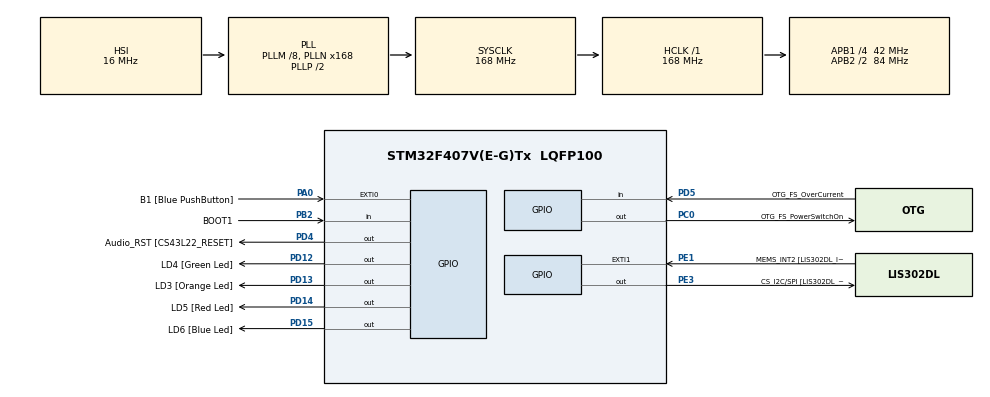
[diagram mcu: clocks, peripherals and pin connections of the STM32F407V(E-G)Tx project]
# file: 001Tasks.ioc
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Mcu.Family=STM32F4
Mcu.Name=STM32F407V(E-G)Tx
Mcu.Package=LQFP100
NVIC.PriorityGroup=NVIC_PRIORITYGROUP_4
NVIC.TIM6_DAC_IRQn=true\:0\:0\:false\:false\:true\:false\:true
NVIC.TimeBase=TIM6_DAC_IRQn
NVIC.TimeBaseIP=TIM6
PA0-WKUP.GPIO_Label=B1 [Blue PushButton]
PA0-WKUP.Signal=GPXTI0
PA10.GPIO_Label=OTG_FS_ID
PA10.GPIO_Mode=GPIO_MODE_AF_PP
PA10.GPIO_PuPd=GPIO_NOPULL
PA10.GPIO_Speed=GPIO_SPEED_FREQ_LOW
PA10.Signal=USB_OTG_FS_ID
PA11.GPIO_Label=OTG_FS_DM
PA11.GPIO_Mode=GPIO_MODE_AF_PP
PA11.GPIO_PuPd=GPIO_NOPULL
PA11.GPIO_Speed=GPIO_SPEED_FREQ_LOW
PA11.Signal=USB_OTG_FS_DM
PA12.GPIO_Label=OTG_FS_DP
PA12.GPIO_Mode=GPIO_MODE_AF_PP
PA12.GPIO_PuPd=GPIO_NOPULL
PA12.GPIO_Speed=GPIO_SPEED_FREQ_LOW
PA12.Signal=USB_OTG_FS_DP
PA13.GPIO_Label=SWDIO
PA13.Signal=SYS_JTMS-SWDIO
PA14.GPIO_Label=SWCLK
PA14.Signal=SYS_JTCK-SWCLK
PA4.GPIO_Label=I2S3_WS [CS43L22_LRCK]
PA4.GPIO_Mode=GPIO_MODE_AF_PP
PA4.GPIO_PuPd=GPIO_NOPULL
PA4.GPIO_Speed=GPIO_SPEED_FREQ_LOW
PA4.Signal=I2S3_WS
PA5.GPIO_Label=SPI1_SCK [LIS302DL_SCL/SPC]
PA5.GPIO_Mode=GPIO_MODE_AF_PP
PA5.GPIO_PuPd=GPIO_NOPULL
PA5.GPIO_Speed=GPIO_SPEED_FREQ_LOW
PA5.Signal=SPI1_SCK
PA6.GPIO_Label=SPI1_MISO [LIS302DL_SDO]
PA6.GPIO_Mode=GPIO_MODE_AF_PP
PA6.GPIO_PuPd=GPIO_NOPULL
PA6.GPIO_Speed=GPIO_SPEED_FREQ_LOW
PA6.Signal=SPI1_MISO
PA7.GPIO_Label=SPI1_MOSI [LIS302DL_SDA/SDI/SDO]
PA7.GPIO_Mode=GPIO_MODE_AF_PP
PA7.GPIO_PuPd=GPIO_NOPULL
PA7.GPIO_Speed=GPIO_SPEED_FREQ_LOW
PA7.Signal=SPI1_MOSI
PA9.GPIO_Label=VBUS_FS
PA9.GPIO_Mode=GPIO_MODE_INPUT
PA9.GPIO_PuPd=GPIO_NOPULL
PA9.Signal=USB_OTG_FS_VBUS
PB10.GPIO_Label=CLK_IN [MP45DT02_CLK]
PB10.GPIO_Mode=GPIO_MODE_AF_PP
PB10.GPIO_PuPd=GPIO_NOPULL
PB10.GPIO_Speed=GPIO_SPEED_FREQ_LOW
PB10.Signal=I2S2_CK
PB2.GPIO_Label=BOOT1
PB2.GPIO_Mode=GPIO_MODE_INPUT
PB2.GPIO_PuPd=GPIO_NOPULL
PB2.Signal=GPIO_Input
PB3.GPIO_Label=SWO
PB3.Signal=SYS_JTDO-SWO
PB6.GPIO_Label=Audio_SCL [CS43L22_SCL]
PB6.GPIO_Mode=GPIO_MODE_AF_OD
PB6.GPIO_PuPd=GPIO_NOPULL
PB6.GPIO_Speed=GPIO_SPEED_FREQ_LOW
PB6.Signal=I2C1_SCL
PB9.GPIO_Label=Audio_SDA [CS43L22_SDA]
PB9.GPIO_Mode=GPIO_MODE_AF_OD
PB9.GPIO_PuPd=GPIO_NOPULL
PB9.GPIO_Speed=GPIO_SPEED_FREQ_LOW
PB9.Signal=I2C1_SDA
PC0.GPIO_Label=OTG_FS_PowerSwitchOn
PC0.GPIO_PuPd=GPIO_NOPULL
PC0.GPIO_Speed=GPIO_SPEED_FREQ_LOW
PC0.PinState=GPIO_PIN_SET
PC0.Signal=GPIO_Output
PC10.GPIO_Label=I2S3_SCK [CS43L22_SCLK]
PC10.GPIO_Mode=GPIO_MODE_AF_PP
PC10.GPIO_PuPd=GPIO_NOPULL
PC10.GPIO_Speed=GPIO_SPEED_FREQ_LOW
PC10.Signal=I2S3_CK
PC12.GPIO_Label=I2S3_SD [CS43L22_SDIN]
PC12.GPIO_Mode=GPIO_MODE_AF_PP
PC12.GPIO_PuPd=GPIO_NOPULL
PC12.GPIO_Speed=GPIO_SPEED_FREQ_LOW
PC12.Signal=I2S3_SD
PC14-OSC32_IN.GPIO_Label=PC14-OSC32_IN
PC14-OSC32_IN.Signal=RCC_OSC32_IN
PC15-OSC32_OUT.GPIO_Label=PC15-OSC32_OUT
PC15-OSC32_OUT.Signal=RCC_OSC32_OUT
PC3.GPIO_Label=PDM_OUT [MP45DT02_DOUT]
PC3.GPIO_Mode=GPIO_MODE_AF_PP
PC3.GPIO_PuPd=GPIO_NOPULL
PC3.GPIO_Speed=GPIO_SPEED_FREQ_LOW
PC3.Signal=I2S2_SD
PC7.GPIO_Label=I2S3_MCK [CS43L22_MCLK]
PC7.GPIO_Mode=GPIO_MODE_AF_PP
PC7.GPIO_PuPd=GPIO_NOPULL
PC7.GPIO_Speed=GPIO_SPEED_FREQ_LOW
PC7.Signal=I2S3_MCK
PD12.GPIO_Label=LD4 [Green Led]
PD12.GPIO_PuPd=GPIO_NOPULL
PD12.GPIO_Speed=GPIO_SPEED_FREQ_LOW
PD12.Signal=GPIO_Output
PD13.GPIO_Label=LD3 [Orange Led]
PD13.GPIO_PuPd=GPIO_NOPULL
PD13.GPIO_Speed=GPIO_SPEED_FREQ_LOW
PD13.Signal=GPIO_Output
PD14.GPIO_Label=LD5 [Red Led]
PD14.GPIO_PuPd=GPIO_NOPULL
PD14.GPIO_Speed=GPIO_SPEED_FREQ_LOW
PD14.Signal=GPIO_Output
PD15.GPIO_Label=LD6 [Blue Led]
PD15.GPIO_PuPd=GPIO_NOPULL
PD15.GPIO_Speed=GPIO_SPEED_FREQ_LOW
PD15.Signal=GPIO_Output
PD4.GPIO_Label=Audio_RST [CS43L22_RESET]
PD4.GPIO_PuPd=GPIO_NOPULL
PD4.GPIO_Speed=GPIO_SPEED_FREQ_LOW
PD4.Signal=GPIO_Output
PD5.GPIO_Label=OTG_FS_OverCurrent
PD5.GPIO_Mode=GPIO_MODE_INPUT
PD5.GPIO_PuPd=GPIO_NOPULL
PD5.Signal=GPIO_Input
PE1.GPIO_Label=MEMS_INT2 [LIS302DL_INT2]
PE1.GPIO_ModeDefaultEXTI=GPIO_MODE_EVT_RISING
PE1.GPIO_PuPd=GPIO_NOPULL
PE1.Signal=GPXTI1
PE3.GPIO_Label=CS_I2C/SPI [LIS302DL_CS_I2C/SPI]
PE3.GPIO_PuPd=GPIO_NOPULL
PE3.GPIO_Speed=GPIO_SPEED_FREQ_LOW
PE3.Signal=GPIO_Output
PH0-OSC_IN.GPIO_Label=PH0-OSC_IN
PH0-OSC_IN.Signal=RCC_OSC_IN
PH1-OSC_OUT.GPIO_Label=PH1-OSC_OUT
PH1-OSC_OUT.Signal=RCC_OSC_OUT
ProjectManager.HeapSize=0x200
ProjectManager.StackSize=0x400
ProjectManager.TargetToolchain=STM32CubeIDE
RCC.48MHZClocksFreq_Value=48000000
RCC.AHBFreq_Value=168000000
RCC.APB1CLKDivider=RCC_HCLK_DIV4
RCC.APB1Freq_Value=42000000
RCC.APB1TimFreq_Value=84000000
RCC.APB2CLKDivider=RCC_HCLK_DIV2
RCC.APB2Freq_Value=84000000
RCC.APB2TimFreq_Value=168000000
RCC.CortexFreq_Value=168000000
RCC.HCLKFreq_Value=168000000
RCC.HSE_VALUE=8000000
RCC.HSI_VALUE=16000000
RCC.LSE_VALUE=32768
RCC.PLLM=8
RCC.PLLN=168
RCC.PLLQ=7
RCC.SYSCLKFreq_VALUE=168000000
RCC.SYSCLKSource=RCC_SYSCLKSOURCE_PLLCLK
RCC.VCOOutputFreq_Value=336000000
VP_SYS_VS_tim6.Mode=TIM6
board=STM32F407G-DISC1

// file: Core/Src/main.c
/* USER CODE BEGIN Header */
/**
  ******************************************************************************
  * @file           : main.c
  * @brief          : Main program body
  ******************************************************************************
  * @attention
  *
  * Copyright (c) 2024 STMicroelectronics.
  * All rights reserved.
  *
  * This software is licensed under terms that can be found in the LICENSE file
  * in the root directory of this software component.
  * If no LICENSE file comes with this software, it is provided AS-IS.
  *
  ******************************************************************************
  */
/* USER CODE END Header */
#include "main.h"

/* USER CODE BEGIN Includes */
#include<stdio.h>
#include"FreeRTOS.h"
#include"task.h"
/* USER CODE END Includes */

/* USER CODE BEGIN PV */

#define DWT_CTRL		(*(volatile uint32_t*)0xE0001000)

/* USER CODE END PV */

void SystemClock_Config(void);
static void MX_GPIO_Init(void);
/* USER CODE BEGIN PFP */
static void task1_handler(void *parameters);
static void task2_handler(void *parameters);
/* USER CODE END PFP */

int main(void)
{
  /* USER CODE BEGIN 1 */
	BaseType_t status;
	TaskHandle_t task1_handle;
	TaskHandle_t task2_handle;

  /* USER CODE END 1 */

  /* MCU Configuration--------------------------------------------------------*/

  /* Reset of all peripherals, Initializes the Flash interface and the Systick. */
  HAL_Init();

  /* Configure the system clock */
  SystemClock_Config();

  /* Initialize all configured peripherals */
  MX_GPIO_Init();
  /* USER CODE BEGIN 2 */

  //Enable the CYCCNT counter

  DWT_CTRL |= (1<<0);

 // SEGGER_UART_init(500000);

  SEGGER_SYSVIEW_Conf();

 // SEGGER_SYSVIEW_Start();  //this line is these is segger_uart.c under segger->config->Rec

  status=xTaskCreate(task1_handler, "Task-1", 200, "Hello world from Task-1", 2, &task1_handle);

  configASSERT(status == pdPASS);

  status=xTaskCreate(task2_handler, "Task-2", 200, "Hello world from Task-2", 2, &task2_handle);

  configASSERT(status == pdPASS);

  //start the freeRTOS scheduler
  vTaskStartScheduler();

  //if the control comes here then the launch of scheduler has failed due to insufficient memory in the heap

  /* USER CODE END 2 */

  /* Infinite loop */
  while (1)
  {

  }
}

void SystemClock_Config(void)
{
  RCC_OscInitTypeDef RCC_OscInitStruct = {0};
  RCC_ClkInitTypeDef RCC_ClkInitStruct = {0};

  /** Configure the main internal regulator output voltage
  */
  __HAL_RCC_PWR_CLK_ENABLE();
  __HAL_PWR_VOLTAGESCALING_CONFIG(PWR_REGULATOR_VOLTAGE_SCALE1);
  /** Initializes the RCC Oscillators according to the specified parameters
  * in the RCC_OscInitTypeDef structure.
  */
  RCC_OscInitStruct.OscillatorType = RCC_OSCILLATORTYPE_HSI;
  RCC_OscInitStruct.HSIState = RCC_HSI_ON;
  RCC_OscInitStruct.HSICalibrationValue = RCC_HSICALIBRATION_DEFAULT;
  RCC_OscInitStruct.PLL.PLLState = RCC_PLL_ON;
  RCC_OscInitStruct.PLL.PLLSource = RCC_PLLSOURCE_HSI;
  RCC_OscInitStruct.PLL.PLLM = 8;
  RCC_OscInitStruct.PLL.PLLN = 168;
  RCC_OscInitStruct.PLL.PLLP = RCC_PLLP_DIV2;
  RCC_OscInitStruct.PLL.PLLQ = 7;
  if (HAL_RCC_OscConfig(&RCC_OscInitStruct) != HAL_OK)
  {
    Error_Handler();
  }
  /** Initializes the CPU, AHB and APB buses clocks
  */
  RCC_ClkInitStruct.ClockType = RCC_CLOCKTYPE_HCLK|RCC_CLOCKTYPE_SYSCLK
                              |RCC_CLOCKTYPE_PCLK1|RCC_CLOCKTYPE_PCLK2;
  RCC_ClkInitStruct.SYSCLKSource = RCC_SYSCLKSOURCE_PLLCLK;
  RCC_ClkInitStruct.AHBCLKDivider = RCC_SYSCLK_DIV1;
  RCC_ClkInitStruct.APB1CLKDivider = RCC_HCLK_DIV4;
  RCC_ClkInitStruct.APB2CLKDivider = RCC_HCLK_DIV2;

  if (HAL_RCC_ClockConfig(&RCC_ClkInitStruct, FLASH_LATENCY_5) != HAL_OK)
  {
    Error_Handler();
  }
}

static void MX_GPIO_Init(void)
{
  GPIO_InitTypeDef GPIO_InitStruct = {0};

  /* GPIO Ports Clock Enable */
  __HAL_RCC_GPIOE_CLK_ENABLE();
  __HAL_RCC_GPIOC_CLK_ENABLE();
  __HAL_RCC_GPIOH_CLK_ENABLE();
  __HAL_RCC_GPIOA_CLK_ENABLE();
  __HAL_RCC_GPIOB_CLK_ENABLE();
  __HAL_RCC_GPIOD_CLK_ENABLE();

  /*Configure GPIO pin Output Level */
  HAL_GPIO_WritePin(CS_I2C_SPI_GPIO_Port, CS_I2C_SPI_Pin, GPIO_PIN_RESET);

  /*Configure GPIO pin Output Level */
  HAL_GPIO_WritePin(OTG_FS_PowerSwitchOn_GPIO_Port, OTG_FS_PowerSwitchOn_Pin, GPIO_PIN_SET);

  /*Configure GPIO pin Output Level */
  HAL_GPIO_WritePin(GPIOD, LD4_Pin|LD3_Pin|LD5_Pin|LD6_Pin
                          |Audio_RST_Pin, GPIO_PIN_RESET);

  /*Configure GPIO pin : CS_I2C_SPI_Pin */
  GPIO_InitStruct.Pin = CS_I2C_SPI_Pin;
  GPIO_InitStruct.Mode = GPIO_MODE_OUTPUT_PP;
  GPIO_InitStruct.Pull = GPIO_NOPULL;
  GPIO_InitStruct.Speed = GPIO_SPEED_FREQ_LOW;
  HAL_GPIO_Init(CS_I2C_SPI_GPIO_Port, &GPIO_InitStruct);

  /*Configure GPIO pin : OTG_FS_PowerSwitchOn_Pin */
  GPIO_InitStruct.Pin = OTG_FS_PowerSwitchOn_Pin;
  GPIO_InitStruct.Mode = GPIO_MODE_OUTPUT_PP;
  GPIO_InitStruct.Pull = GPIO_NOPULL;
  GPIO_InitStruct.Speed = GPIO_SPEED_FREQ_LOW;
  HAL_GPIO_Init(OTG_FS_PowerSwitchOn_GPIO_Port, &GPIO_InitStruct);

  /*Configure GPIO pin : PDM_OUT_Pin */
  GPIO_InitStruct.Pin = PDM_OUT_Pin;
  GPIO_InitStruct.Mode = GPIO_MODE_AF_PP;
  GPIO_InitStruct.Pull = GPIO_NOPULL;
  GPIO_InitStruct.Speed = GPIO_SPEED_FREQ_LOW;
  GPIO_InitStruct.Alternate = GPIO_AF5_SPI2;
  HAL_GPIO_Init(PDM_OUT_GPIO_Port, &GPIO_InitStruct);

  /*Configure GPIO pin : B1_Pin */
  GPIO_InitStruct.Pin = B1_Pin;
  GPIO_InitStruct.Mode = GPIO_MODE_IT_RISING;
  GPIO_InitStruct.Pull = GPIO_NOPULL;
  HAL_GPIO_Init(B1_GPIO_Port, &GPIO_InitStruct);

  /*Configure GPIO pin : I2S3_WS_Pin */
  GPIO_InitStruct.Pin = I2S3_WS_Pin;
  GPIO_InitStruct.Mode = GPIO_MODE_AF_PP;
  GPIO_InitStruct.Pull = GPIO_NOPULL;
  GPIO_InitStruct.Speed = GPIO_SPEED_FREQ_LOW;
  GPIO_InitStruct.Alternate = GPIO_AF6_SPI3;
  HAL_GPIO_Init(I2S3_WS_GPIO_Port, &GPIO_InitStruct);

  /*Configure GPIO pins : SPI1_SCK_Pin SPI1_MISO_Pin SPI1_MOSI_Pin */
  GPIO_InitStruct.Pin = SPI1_SCK_Pin|SPI1_MISO_Pin|SPI1_MOSI_Pin;
  GPIO_InitStruct.Mode = GPIO_MODE_AF_PP;
  GPIO_InitStruct.Pull = GPIO_NOPULL;
  GPIO_InitStruct.Speed = GPIO_SPEED_FREQ_LOW;
  GPIO_InitStruct.Alternate = GPIO_AF5_SPI1;
  HAL_GPIO_Init(GPIOA, &GPIO_InitStruct);

  /*Configure GPIO pin : BOOT1_Pin */
  GPIO_InitStruct.Pin = BOOT1_Pin;
  GPIO_InitStruct.Mode = GPIO_MODE_INPUT;
  GPIO_InitStruct.Pull = GPIO_NOPULL;
  HAL_GPIO_Init(BOOT1_GPIO_Port, &GPIO_InitStruct);

  /*Configure GPIO pin : CLK_IN_Pin */
  GPIO_InitStruct.Pin = CLK_IN_Pin;
  GPIO_InitStruct.Mode = GPIO_MODE_AF_PP;
  GPIO_InitStruct.Pull = GPIO_NOPULL;
  GPIO_InitStruct.Speed = GPIO_SPEED_FREQ_LOW;
  GPIO_InitStruct.Alternate = GPIO_AF5_SPI2;
  HAL_GPIO_Init(CLK_IN_GPIO_Port, &GPIO_InitStruct);

  /*Configure GPIO pins : LD4_Pin LD3_Pin LD5_Pin LD6_Pin
                           Audio_RST_Pin */
  GPIO_InitStruct.Pin = LD4_Pin|LD3_Pin|LD5_Pin|LD6_Pin
                          |Audio_RST_Pin;
  GPIO_InitStruct.Mode = GPIO_MODE_OUTPUT_PP;
  GPIO_InitStruct.Pull = GPIO_NOPULL;
  GPIO_InitStruct.Speed = GPIO_SPEED_FREQ_LOW;
  HAL_GPIO_Init(GPIOD, &GPIO_InitStruct);

  /*Configure GPIO pins : I2S3_MCK_Pin I2S3_SCK_Pin I2S3_SD_Pin */
  GPIO_InitStruct.Pin = I2S3_MCK_Pin|I2S3_SCK_Pin|I2S3_SD_Pin;
  GPIO_InitStruct.Mode = GPIO_MODE_AF_PP;
  GPIO_InitStruct.Pull = GPIO_NOPULL;
  GPIO_InitStruct.Speed = GPIO_SPEED_FREQ_LOW;
  GPIO_InitStruct.Alternate = GPIO_AF6_SPI3;
  HAL_GPIO_Init(GPIOC, &GPIO_InitStruct);

  /*Configure GPIO pin : VBUS_FS_Pin */
  GPIO_InitStruct.Pin = VBUS_FS_Pin;
  GPIO_InitStruct.Mode = GPIO_MODE_INPUT;
  GPIO_InitStruct.Pull = GPIO_NOPULL;
  HAL_GPIO_Init(VBUS_FS_GPIO_Port, &GPIO_InitStruct);

  /*Configure GPIO pins : OTG_FS_ID_Pin OTG_FS_DM_Pin OTG_FS_DP_Pin */
  GPIO_InitStruct.Pin = OTG_FS_ID_Pin|OTG_FS_DM_Pin|OTG_FS_DP_Pin;
  GPIO_InitStruct.Mode = GPIO_MODE_AF_PP;
  GPIO_InitStruct.Pull = GPIO_NOPULL;
  GPIO_InitStruct.Speed = GPIO_SPEED_FREQ_LOW;
  GPIO_InitStruct.Alternate = GPIO_AF10_OTG_FS;
  HAL_GPIO_Init(GPIOA, &GPIO_InitStruct);

  /*Configure GPIO pin : OTG_FS_OverCurrent_Pin */
  GPIO_InitStruct.Pin = OTG_FS_OverCurrent_Pin;
  GPIO_InitStruct.Mode = GPIO_MODE_INPUT;
  GPIO_InitStruct.Pull = GPIO_NOPULL;
  HAL_GPIO_Init(OTG_FS_OverCurrent_GPIO_Port, &GPIO_InitStruct);

  /*Configure GPIO pins : Audio_SCL_Pin Audio_SDA_Pin */
  GPIO_InitStruct.Pin = Audio_SCL_Pin|Audio_SDA_Pin;
  GPIO_InitStruct.Mode = GPIO_MODE_AF_OD;
  GPIO_InitStruct.Pull = GPIO_NOPULL;
  GPIO_InitStruct.Speed = GPIO_SPEED_FREQ_LOW;
  GPIO_InitStruct.Alternate = GPIO_AF4_I2C1;
  HAL_GPIO_Init(GPIOB, &GPIO_InitStruct);

  /*Configure GPIO pin : MEMS_INT2_Pin */
  GPIO_InitStruct.Pin = MEMS_INT2_Pin;
  GPIO_InitStruct.Mode = GPIO_MODE_EVT_RISING;
  GPIO_InitStruct.Pull = GPIO_NOPULL;
  HAL_GPIO_Init(MEMS_INT2_GPIO_Port, &GPIO_InitStruct);

}

/* USER CODE BEGIN 4 */

static void task1_handler(void *parameters)
{
	char msg[100];
	while(1)
	{
		snprintf(msg,100,"%s\n",(char*)parameters);
		//printf("%s\n",(char*)parameters);
		SEGGER_SYSVIEW_PrintfTarget(msg);
		taskYIELD();
	}

}

static void task2_handler(void *parameters)
{
	char msg[100];
	while(1)
	{
		snprintf(msg,100,"%s\n",(char*)parameters);
		//printf("%s\n",(char*)parameters);
		SEGGER_SYSVIEW_PrintfTarget(msg);
		taskYIELD();
	}
}

/* USER CODE END 4 */

void HAL_TIM_PeriodElapsedCallback(TIM_HandleTypeDef *htim)
{
  if (htim->Instance == TIM6) {
    HAL_IncTick();
  }
}

void Error_Handler(void)
{
  __disable_irq();
  while (1)
  {
  }
}
